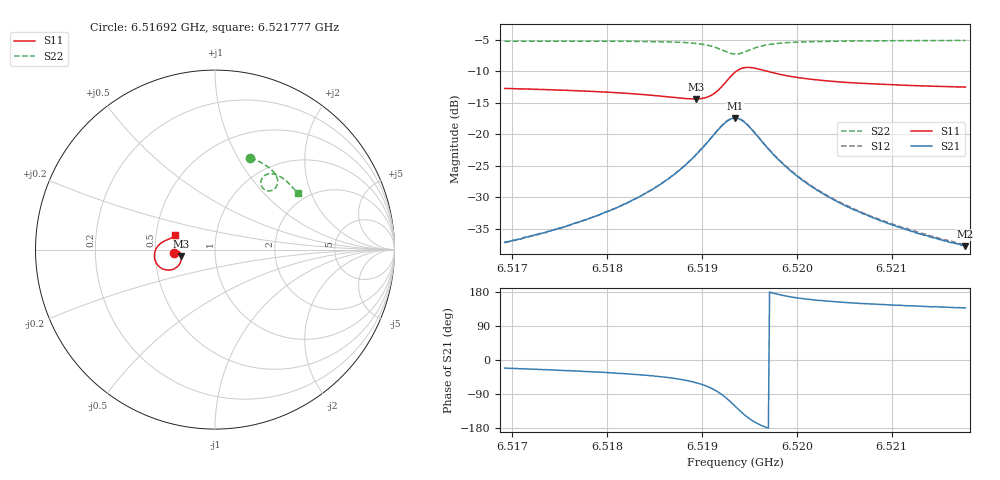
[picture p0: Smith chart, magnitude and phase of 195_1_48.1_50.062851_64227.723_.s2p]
#  HZ  S  RI  R  50.00
! Rohde & Schwarz Vector Network Analyzer
! Rohde-Schwarz,ZNB20-2Port,1311601062101988,3.16
! Created: UTC 12/23/2023, 3:54:10 AM
! freq[Hz]  re:S11  im:S11  re:S21  im:S21  re:S12  im:S12  re:S22  im:S22
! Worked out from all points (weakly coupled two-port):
!   401 points, 6.51692 GHz to 6.521777 GHz, reference 50 ohm
!   highest |S21| = -17.41 dB at 6.519349 GHz (marker M1); lowest = -37.7 dB at 6.521777 GHz (marker M2)
!   lowest |S11| = -14.4 dB at 6.518936 GHz (marker M3), VSWR 1.47, Z = 34.1 - j2.59 ohm
!   |S11| at or under -10 dB: start of sweep to 6.51936 GHz; 6.519692 GHz to end of sweep
!   |S22| runs from -7.3 to -5.1 dB; largest |S21 - S12| = 0.0042
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6.51692e9  -0.2309 -0.0186  0.0129 -0.00506  0.0131 -0.00477  0.1974 0.5112
6.5173329e9  -0.2265 -0.0124  0.015 -0.00717  0.0152 -0.00666  0.2281 0.4989
6.5177336e9  -0.2209 -0.00766  0.0179 -0.0101  0.018 -0.00959  0.2575 0.4842
6.5181829e9  -0.2121 -0.00516  0.0226 -0.0165  0.023 -0.0156  0.2913 0.4636
6.5185472e9  -0.2016 -0.00938  0.0287 -0.0273  0.0295 -0.0263  0.3197 0.4404
6.5187658e9  -0.1935 -0.0192  0.0329 -0.0404  0.0343 -0.0395  0.3365 0.4197
6.5189358e9  -0.1875 -0.0366  0.0346 -0.059  0.0366 -0.0584  0.3472 0.396
6.5190451e9  -0.188 -0.0564  0.0307 -0.0785  0.0333 -0.0779  0.3492 0.3744
6.5191301e9  -0.1963 -0.0783  0.02 -0.098  0.0232 -0.098  0.3436 0.354
6.5192637e9  -0.242 -0.1122  -0.026 -0.1243  -0.0226 -0.126  0.3089 0.3278
6.5193487e9  -0.2921 -0.1072  -0.0707 -0.1147  -0.0678 -0.1176  0.2746 0.3354
6.5193973e9  -0.3166 -0.0891  -0.0906 -0.0962  -0.0885 -0.0997  0.2607 0.3509
6.519458e9  -0.3342 -0.0583  -0.1028 -0.0676  -0.1017 -0.0712  0.2552 0.3746
6.5195551e9  -0.3351 -0.0133  -0.0987 -0.029  -0.0986 -0.0323  0.2673 0.4042
6.5196644e9  -0.3196 0.0178  -0.0821 -0.00511  -0.0827 -0.00756  0.2897 0.4194
6.519798e9  -0.3002 0.0367  -0.0635 0.00737  -0.0645 0.00558  0.3146 0.423
6.5199194e9  -0.2864 0.0454  -0.0512 0.0116  -0.0521 0.0103  0.3325 0.42
6.5201623e9  -0.2676 0.0542  -0.0358 0.0137  -0.0365 0.0128  0.3595 0.4087
6.5205144e9  -0.2513 0.0609  -0.0238 0.0127  -0.0247 0.0122  0.3888 0.3891
6.5209759e9  -0.2385 0.0678  -0.0161 0.0111  -0.0167 0.0108  0.4183 0.3618
6.5212795e9  -0.2323 0.072  -0.0129 0.01  -0.0134 0.00991  0.4352 0.3436
6.5217773e9  -0.2236 0.0789  -0.00955 0.00878  -0.0101 0.00867  0.4598 0.3129
